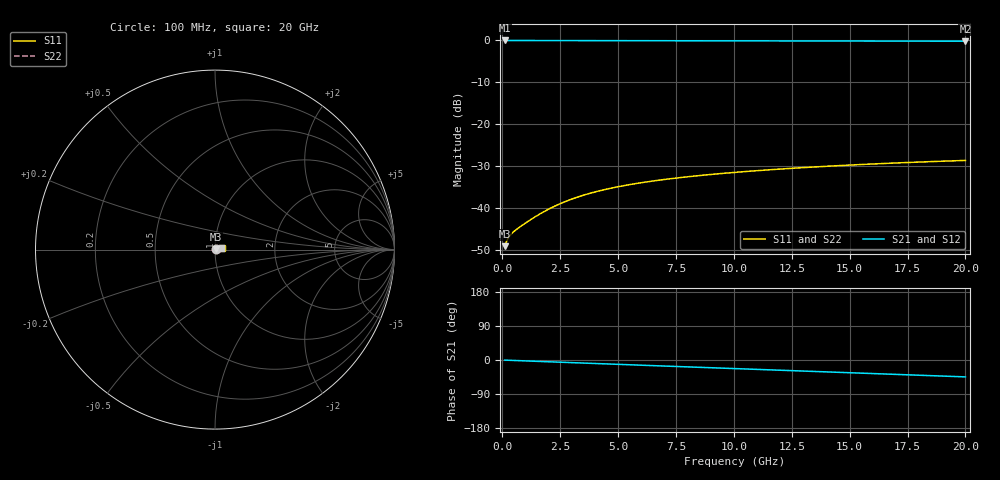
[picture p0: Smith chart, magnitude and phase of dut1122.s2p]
! Touchstone file exported from HFSS 2026.1.0
!  File:  C:/ffzhzh/LocalFiles/Ansys_Project_Files/temp_train_BSMRDL_1122_1783175143_43440.aedt
!  Generated:  10:26:52 PM Jul  4, 2026
!  Design:  BSMRDL
!  Project:  temp_train_BSMRDL_1122_1783175143_43440
! Variables:
!  h_bsmrdl = 5.36um
!  h_ox = 20um
!  h_rdl = 5um
!  h_sub = 80um
!  h_tmrdl = 5um
!  h_tsv = 80um
!  h_via = 3um
!  l_bsmrdl = 811.32um
!  l_sub = 1211.32um
!  l_tmrdl = 200um
!  m_sub = 200um
!  pitch = 22.24um
!  r_tsv = 6um
!  s_tmrdl = 10um
!  w_bsmrdl = 16.84um
!  w_sub = 500um
!  w_tmrdl = 12um
!  x_tsv_center1 = 206um
!  x_tsv_center2 = 1034.16um
!  x_tsv_center3 = 1246.16um
!  x_tsv_center4 = 2074.32um
!  x_tsv_center5 = 2286.32um
!  x_tsv_center6 = 3114.48um
# GHz S MA R 50.000000
! Terminal data exported
! Port[1] = BSM_RDL1_1_T1
! Port[2] = BSM_RDL1_1_T2
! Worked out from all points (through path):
!   200 points, 100 MHz to 20 GHz, reference 50 ohm
!   highest |S21| = -0.03 dB at 100 MHz (marker M1); lowest = -0.2 dB at 20 GHz (marker M2)
!   group delay of S21, straight-line fit = 6.16 ps
!   lowest |S11| = -49.0 dB at 100 MHz (marker M3), VSWR 1.01, Z = 50.3 + j0.0918 ohm
!   |S11| at or under -10 dB: start of sweep to end of sweep
!   |S22| runs from -49.0 to -28.7 dB; largest |S21 - S12| = 3.3e-15
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0.1  0.003535 14.9  0.9966 -0.3  0.9966 -0.3  0.003535 14.9
! Gamma 0 0 0 0
! Port Impedance 50 0 50 0
0.2  0.004118 21.9  0.9962 -0.5  0.9962 -0.5  0.004117 21.8
0.3  0.004607 24.8  0.9958 -0.8  0.9958 -0.8  0.004602 24.8
0.4  0.00498 26.8  0.9956 -1.0  0.9956 -1.0  0.004972 26.8
0.5  0.005287 28.6  0.9954 -1.2  0.9954 -1.2  0.005276 28.6
0.7  0.005832 32.2  0.9951 -1.7  0.9951 -1.7  0.005821 32.3
1.2  0.007243 39.7  0.9946 -2.8  0.9946 -2.8  0.007234 39.8
1.5  0.008164 42.7  0.9942 -3.5  0.9942 -3.5  0.008158 42.8
1.8  0.009116 44.6  0.9939 -4.2  0.9939 -4.2  0.009111 44.7
2.3  0.01071 46.2  0.9933 -5.4  0.9933 -5.4  0.01071 46.3
2.9  0.01256 46.5  0.9924 -6.8  0.9924 -6.8  0.01255 46.5
3.5  0.01429 45.8  0.9915 -8.1  0.9915 -8.1  0.01428 45.9
4.2  0.01614 44.4  0.9904 -9.7  0.9904 -9.7  0.01613 44.5
5  0.01804 42.6  0.9893 -11.5  0.9893 -11.5  0.01802 42.7
5.8  0.01975 40.6  0.9882 -13.3  0.9882 -13.3  0.01972 40.7
6.8  0.02166 38.2  0.9869 -15.5  0.9869 -15.5  0.02161 38.4
8.3  0.02418 34.8  0.9853 -18.8  0.9853 -18.8  0.02411 35.0
10.1  0.02683 30.9  0.9836 -22.8  0.9836 -22.8  0.02673 31.1
11.7  0.02893 27.6  0.9822 -26.3  0.9822 -26.3  0.0288 27.9
13.4  0.03095 24.1  0.9809 -30.1  0.9809 -30.1  0.03079 24.4
16.7  0.03435 17.4  0.9785 -37.3  0.9785 -37.3  0.0341 17.9
20  0.03711 10.6  0.9765 -44.6  0.9765 -44.6  0.03676 11.3
